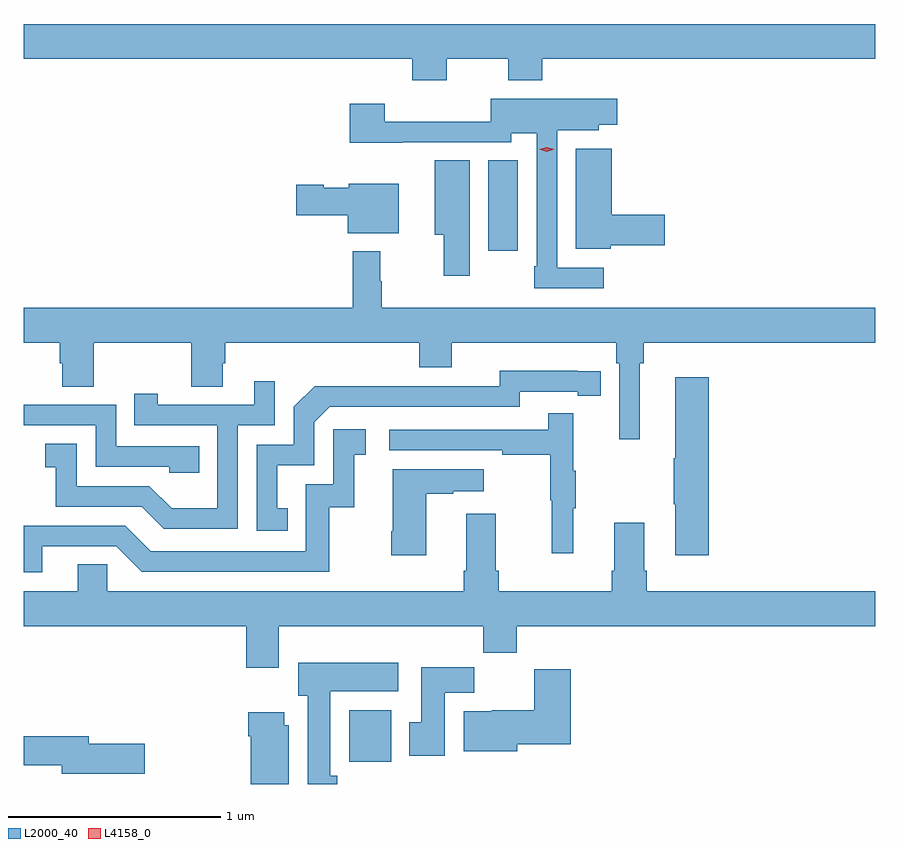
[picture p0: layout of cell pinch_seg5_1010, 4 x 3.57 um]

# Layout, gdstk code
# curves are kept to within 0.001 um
import gdstk
lib = gdstk.Library(unit=1e-6, precision=1e-09)
def R(c, l, rs):  # rectangles x0, y0, x1, y1
    for r in rs: c.add(gdstk.rectangle(r[:2], r[2:], *l))
def P(c, l, *ps):  # polygons
    for p in ps: c.add(gdstk.Polygon(p, *l))
L2000_40 = (2000, 40)
L4158_0 = (4158, 0)

pinch_seg5_1010 = lib.new_cell('pinch_seg5_1010')
R(pinch_seg5_1010, L2000_40, [(746.336,861.452,746.533,861.694), (746.99,863.85,747.127,864.275)])
P(pinch_seg5_1010, L2000_40, [(746.793,864.752),(747.082,864.752),(747.082,864.653),(747.242,864.653),(747.242,864.752),(748.807,864.752),(748.807,864.916),(744.807,864.916),(744.807,864.752),(746.633,864.752),(746.633,864.653),(746.793,864.653)],
  [(747.532,863.772),(747.312,863.772),(747.312,864.416),(747.507,864.416),(747.507,864.443),(747.595,864.443),(747.595,864.565),(747,864.565),(747,864.458),(746.504,864.458),(746.504,864.541),(746.339,864.541),(746.339,864.359),(746.587,864.359),(746.587,864.36),(747.096,864.36),(747.096,864.404),(747.216,864.404),(747.216,863.779),(747.204,863.779),(747.204,863.676),(747.532,863.676)],
  [(747.564,863.878),(747.817,863.878),(747.817,864.02),(747.568,864.02),(747.568,864.331),(747.401,864.331),(747.401,863.861),(747.564,863.861)],
  [(746.902,864.275),(746.738,864.275),(746.738,863.927),(746.78,863.927),(746.78,863.733),(746.902,863.733)],
  [(746.569,864.166),(746.334,864.166),(746.334,864.148),(746.217,864.148),(746.217,864.161),(746.088,864.161),(746.088,864.019),(746.33,864.019),(746.33,863.933),(746.569,863.933)],
  [(746.489,863.708),(746.482,863.708),(746.482,863.848),(746.353,863.848),(746.353,863.584),(744.807,863.584),(744.807,863.42),(744.977,863.42),(744.977,863.322),(744.989,863.322),(744.989,863.212),(745.137,863.212),(745.137,863.42),(745.594,863.42),(745.594,863.212),(745.741,863.212),(745.741,863.322),(745.754,863.322),(745.754,863.42),(746.666,863.42),(746.666,863.303),(746.818,863.303),(746.818,863.42),(747.59,863.42),(747.59,863.324),(747.603,863.324),(747.603,862.965),(747.7,862.965),(747.7,863.324),(747.719,863.324),(747.719,863.42),(748.807,863.42),(748.807,863.584),(746.489,863.584)],
  [(746.048,862.641),(745.999,862.641),(745.999,862.845),(746.172,862.845),(746.172,863.046),(746.244,863.118),(747.138,863.118),(747.138,863.19),(747.41,863.19),(747.41,863.17),(747.518,863.17),(747.518,863.286),(747.042,863.287),(747.042,863.214),(746.582,863.214),(746.582,863.216),(746.174,863.216),(746.076,863.118),(746.076,862.941),(745.902,862.941),(745.902,862.536),(746.048,862.536)],
  [(748.025,863.257),(747.866,863.257),(747.866,862.877),(747.859,862.877),(747.859,862.66),(747.866,862.66),(747.866,862.422),(748.025,862.422)],
  [(745.812,863.031),(745.986,863.031),(745.986,863.239),(745.889,863.239),(745.889,863.127),(745.438,863.127),(745.438,863.179),(745.327,863.179),(745.327,863.031),(745.716,863.031),(745.716,862.642),(745.502,862.642),(745.398,862.746),(745.056,862.746),(745.056,862.945),(744.909,862.945),(744.909,862.835),(744.958,862.835),(744.958,862.65),(745.361,862.65),(745.466,862.545),(745.812,862.545)],
  [(745.631,862.932),(745.242,862.932),(745.242,863.127),(744.807,863.127),(744.807,863.031),(745.146,863.031),(745.146,862.836),(745.491,862.836),(745.491,862.809),(745.631,862.809)],
  [(747.389,862.643),(747.4,862.643),(747.4,862.817),(747.389,862.817),(747.389,863.089),(747.271,863.089),(747.271,863.01),(746.523,863.01),(746.523,862.914),(747.055,862.914),(747.055,862.894),(747.279,862.894),(747.279,862.68),(747.286,862.68),(747.286,862.431),(747.389,862.431)],
  [(744.895,862.464),(745.242,862.464),(745.362,862.344),(746.242,862.344),(746.242,862.647),(746.36,862.647),(746.36,862.893),(746.413,862.893),(746.413,863.014),(746.262,863.014),(746.262,862.755),(746.133,862.755),(746.133,862.44),(745.404,862.44),(745.284,862.56),(744.807,862.56),(744.807,862.341),(744.895,862.341)],
  [(746.698,862.711),(746.825,862.711),(746.825,862.721),(746.968,862.721),(746.968,862.825),(746.54,862.825),(746.54,862.534),(746.533,862.534),(746.533,862.422),(746.698,862.422)],
  [(746.005,862.088),(746.965,862.088),(746.965,861.964),(747.122,861.964),(747.122,862.088),(748.807,862.088),(748.807,862.252),(747.734,862.252),(747.734,862.348),(747.721,862.348),(747.721,862.573),(747.581,862.573),(747.581,862.348),(747.569,862.348),(747.569,862.252),(747.038,862.252),(747.038,862.348),(747.025,862.348),(747.025,862.615),(746.885,862.615),(746.885,862.348),(746.873,862.348),(746.873,862.252),(745.2,862.252),(745.2,862.379),(745.061,862.379),(745.061,862.252),(744.807,862.252),(744.807,862.088),(745.853,862.088),(745.853,861.894),(746.005,861.894)],
  [(746.281,861.386),(746.248,861.386),(746.248,861.782),(746.566,861.782),(746.566,861.916),(746.096,861.916),(746.096,861.762),(746.141,861.762),(746.141,861.347),(746.281,861.347)],
  [(746.785,861.776),(746.924,861.776),(746.924,861.895),(746.675,861.895),(746.675,861.636),(746.618,861.636),(746.618,861.48),(746.785,861.48)],
  [(747.124,861.533),(747.377,861.533),(747.377,861.886),(747.206,861.886),(747.206,861.694),(747.006,861.694),(747.006,861.688),(746.873,861.688),(746.873,861.5),(747.124,861.5)],
  [(746.053,861.624),(746.032,861.624),(746.032,861.685),(745.862,861.685),(745.862,861.572),(745.874,861.572),(745.874,861.347),(746.053,861.347)],
  [(745.375,861.536),(745.114,861.536),(745.114,861.572),(744.807,861.572),(744.807,861.436),(744.986,861.436),(744.986,861.394),(745.375,861.394)])
P(pinch_seg5_1010, L4158_0, [(747.264,864.317),(747.229,864.327),(747.229,864.327),(747.229,864.327),(747.264,864.337),(747.298,864.327),(747.299,864.327),(747.298,864.327)])

lib.write_gds('pinch_seg5_1010.gds')
